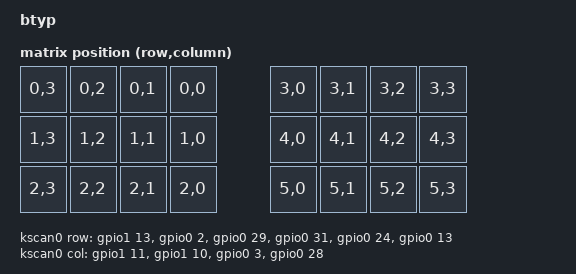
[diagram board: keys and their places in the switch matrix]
/*
 * Copyright (c) 2020 Pete Johanson
 *
 * SPDX-License-Identifier: MIT
 */

/dts-v1/;
#include <nordic/nrf52840_qiaa.dtsi>
#include <dt-bindings/zmk/matrix_transform.h>
#include <physical_layouts.dtsi>

/ {
    model = "btyp";
    compatible = "btyp";

    chosen {
        zephyr,code-partition = &code_partition;
        zephyr,sram = &sram0;
        zephyr,flash = &flash0;
        zmk,physical-layout = &phys_layout;
        zmk,kscan = &kscan0;
        zmk,battery = &bat;
    };

    transform: transform {
        compatible = "zmk,matrix-transform";
        columns = <8>;
        rows = <3>;
        map = <
            RC(0,3) RC(0,2) RC(0,1) RC(0,0) RC(3,0) RC(3,1) RC(3,2) RC(3,3)
            RC(1,3) RC(1,2) RC(1,1) RC(1,0) RC(4,0) RC(4,1) RC(4,2) RC(4,3)
            RC(2,3) RC(2,2) RC(2,1) RC(2,0) RC(5,0) RC(5,1) RC(5,2) RC(5,3)
        >;
    };

    kscan0: kscan0 {
        compatible = "zmk,kscan-gpio-matrix";
        label = "matrix_kscan";
        diode-direction = "col2row";
        row-gpios
            = <&gpio1 13 (GPIO_ACTIVE_HIGH | GPIO_PULL_DOWN)>
            , <&gpio0  2 (GPIO_ACTIVE_HIGH | GPIO_PULL_DOWN)>
            , <&gpio0 29 (GPIO_ACTIVE_HIGH | GPIO_PULL_DOWN)>
            , <&gpio0 31 (GPIO_ACTIVE_HIGH | GPIO_PULL_DOWN)>
            , <&gpio0 24 (GPIO_ACTIVE_HIGH | GPIO_PULL_DOWN)>
            , <&gpio0 13 (GPIO_ACTIVE_HIGH | GPIO_PULL_DOWN)>
            ;
        col-gpios
            = <&gpio1 11 GPIO_ACTIVE_HIGH>
            , <&gpio1 10 GPIO_ACTIVE_HIGH>
            , <&gpio0  3 GPIO_ACTIVE_HIGH>
            , <&gpio0 28 GPIO_ACTIVE_HIGH>
            ;
    };

    phys_layout: phys_layout {
        compatible = "zmk,physical-layout";
        display-name = "Btyp";
        transform = <&transform>;
        kscan = <&kscan0>;
        keys  //                     w   h    x    y     rot    rx    ry
            = <&key_physical_attrs 100 100    0    0       0     0     0>
            , <&key_physical_attrs 100 100  100    0       0     0     0>
            , <&key_physical_attrs 100 100  200    0       0     0     0>
            , <&key_physical_attrs 100 100  300    0       0     0     0>
            , <&key_physical_attrs 100 100  500    0       0     0     0>
            , <&key_physical_attrs 100 100  600    0       0     0     0>
            , <&key_physical_attrs 100 100  700    0       0     0     0>
            , <&key_physical_attrs 100 100  800    0       0     0     0>
            , <&key_physical_attrs 100 100    0  100       0     0     0>
            , <&key_physical_attrs 100 100  100  100       0     0     0>
            , <&key_physical_attrs 100 100  200  100       0     0     0>
            , <&key_physical_attrs 100 100  300  100       0     0     0>
            , <&key_physical_attrs 100 100  500  100       0     0     0>
            , <&key_physical_attrs 100 100  600  100       0     0     0>
            , <&key_physical_attrs 100 100  700  100       0     0     0>
            , <&key_physical_attrs 100 100  800  100       0     0     0>
            , <&key_physical_attrs 100 100    0  200       0     0     0>
            , <&key_physical_attrs 100 100  100  200       0     0     0>
            , <&key_physical_attrs 100 100  200  200       0     0     0>
            , <&key_physical_attrs 100 100  300  200       0     0     0>
            , <&key_physical_attrs 100 100  500  200       0     0     0>
            , <&key_physical_attrs 100 100  600  200       0     0     0>
            , <&key_physical_attrs 100 100  700  200       0     0     0>
            , <&key_physical_attrs 100 100  800  200       0     0     0>
            ;
    };

    bat: vbatt {
        compatible = "zmk,battery-voltage-divider";
        label = "BATTERY";
        io-channels = <&adc 3>;
        output-ohms = <1>;
        full-ohms = <(1 + 1)>;
    };
};

&adc {
    status = "okay";
};

&gpiote {
    status = "okay";
};

&gpio0 {
    status = "okay";
};

&gpio1 {
    status = "okay";
};

zephyr_udc0: &usbd {
    status = "okay";
};

&uicr {
    gpio-as-nreset;
};

&flash0 {
    /*
     * For more information, see:
     * http://docs.zephyrproject.org/latest/devices/dts/flash_partitions.html
     */
    partitions {
        compatible = "fixed-partitions";
        #address-cells = <1>;
        #size-cells = <1>;

        code_partition: partition@0 {
            label = "code_partition";
            reg = <0x00000000 0x000e0000>;
        };

        /*
         * Storage partition will be used by FCB/LittleFS/NVS
         * if enabled.
         */
        storage_partition: partition@e0000 {
            label = "storage";
            reg = <0x000e0000 0x00020000>;
        };
    };
};
